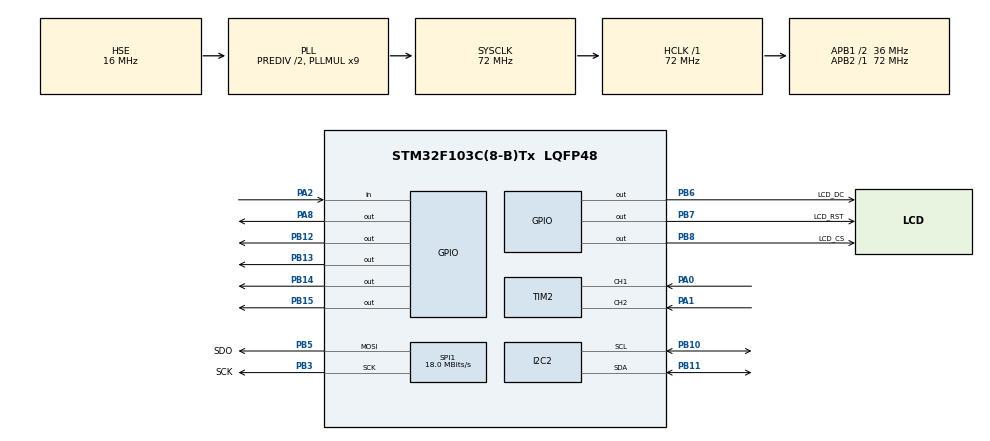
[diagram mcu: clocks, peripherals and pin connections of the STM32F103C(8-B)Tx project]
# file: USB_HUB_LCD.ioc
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Dma.Request0=SPI1_TX
Dma.SPI1_TX.0.Direction=DMA_MEMORY_TO_PERIPH
Dma.SPI1_TX.0.Instance=DMA1_Channel3
Dma.SPI1_TX.0.MemDataAlignment=DMA_MDATAALIGN_BYTE
Dma.SPI1_TX.0.MemInc=DMA_MINC_ENABLE
Dma.SPI1_TX.0.Mode=DMA_NORMAL
Dma.SPI1_TX.0.PeriphDataAlignment=DMA_PDATAALIGN_BYTE
Dma.SPI1_TX.0.PeriphInc=DMA_PINC_DISABLE
Dma.SPI1_TX.0.Priority=DMA_PRIORITY_LOW
Mcu.Family=STM32F1
Mcu.Name=STM32F103C(8-B)Tx
Mcu.Package=LQFP48
NVIC.DMA1_Channel3_IRQn=true\:0\:0\:false\:false\:true\:false\:true\:true
NVIC.I2C2_EV_IRQn=true\:0\:0\:false\:false\:true\:true\:true\:true
NVIC.PriorityGroup=NVIC_PRIORITYGROUP_4
NVIC.TIM2_IRQn=true\:0\:0\:false\:false\:true\:true\:true\:true
PA0-WKUP.GPIO_PuPd=GPIO_PULLDOWN
PA0-WKUP.Signal=S_TIM2_CH1_ETR
PA1.GPIO_PuPd=GPIO_PULLDOWN
PA1.Signal=S_TIM2_CH2
PA13.Mode=Serial_Wire
PA13.Signal=SYS_JTMS-SWDIO
PA14.Mode=Serial_Wire
PA14.Signal=SYS_JTCK-SWCLK
PA2.GPIO_PuPd=GPIO_PULLDOWN
PA2.Signal=GPIO_Input
PA8.Signal=GPIO_Output
PB10.Mode=I2C
PB10.Signal=I2C2_SCL
PB11.Mode=I2C
PB11.Signal=I2C2_SDA
PB12.GPIO_ModeDefaultOutputPP=GPIO_MODE_OUTPUT_OD
PB12.GPIO_PuPd=GPIO_NOPULL
PB12.PinState=GPIO_PIN_SET
PB12.Signal=GPIO_Output
PB13.GPIO_ModeDefaultOutputPP=GPIO_MODE_OUTPUT_OD
PB13.GPIO_PuPd=GPIO_NOPULL
PB13.PinState=GPIO_PIN_SET
PB13.Signal=GPIO_Output
PB14.GPIO_ModeDefaultOutputPP=GPIO_MODE_OUTPUT_OD
PB14.GPIO_PuPd=GPIO_NOPULL
PB14.PinState=GPIO_PIN_SET
PB14.Signal=GPIO_Output
PB15.GPIO_ModeDefaultOutputPP=GPIO_MODE_OUTPUT_OD
PB15.GPIO_PuPd=GPIO_NOPULL
PB15.PinState=GPIO_PIN_SET
PB15.Signal=GPIO_Output
PB3.GPIO_Label=SCK
PB3.Mode=TX_Only_Simplex_Unidirect_Master
PB3.Signal=SPI1_SCK
PB5.GPIO_Label=SDO
PB5.Mode=TX_Only_Simplex_Unidirect_Master
PB5.Signal=SPI1_MOSI
PB6.GPIO_Label=LCD_DC
PB6.GPIO_Speed=GPIO_SPEED_FREQ_HIGH
PB6.PinState=GPIO_PIN_SET
PB6.Signal=GPIO_Output
PB7.GPIO_Label=LCD_RST
PB7.GPIO_PuPd=GPIO_PULLUP
PB7.GPIO_Speed=GPIO_SPEED_FREQ_HIGH
PB7.PinState=GPIO_PIN_SET
PB7.Signal=GPIO_Output
PB8.GPIO_Label=LCD_CS
PB8.GPIO_PuPd=GPIO_PULLUP
PB8.GPIO_Speed=GPIO_SPEED_FREQ_HIGH
PB8.PinState=GPIO_PIN_SET
PB8.Signal=GPIO_Output
PD0-OSC_IN.Mode=HSE-External-Oscillator
PD0-OSC_IN.Signal=RCC_OSC_IN
PD1-OSC_OUT.Mode=HSE-External-Oscillator
PD1-OSC_OUT.Signal=RCC_OSC_OUT
ProjectManager.HeapSize=0x200
ProjectManager.StackSize=0x400
ProjectManager.TargetToolchain=STM32CubeIDE
RCC.AHBFreq_Value=72000000
RCC.APB1CLKDivider=RCC_HCLK_DIV2
RCC.APB1Freq_Value=36000000
RCC.APB1TimFreq_Value=72000000
RCC.APB2Freq_Value=72000000
RCC.APB2TimFreq_Value=72000000
RCC.HCLKFreq_Value=72000000
RCC.HSEDivPLL=RCC_HSE_PREDIV_DIV2
RCC.HSE_VALUE=16000000
RCC.PLLMUL=RCC_PLL_MUL9
RCC.PLLSourceVirtual=RCC_PLLSOURCE_HSE
RCC.SYSCLKFreq_VALUE=72000000
RCC.SYSCLKSource=RCC_SYSCLKSOURCE_PLLCLK
RCC.USBFreq_Value=72000000
SH.S_TIM2_CH1_ETR.0=TIM2_CH1,Encoder_Interface
SH.S_TIM2_CH2.0=TIM2_CH2,Encoder_Interface
SPI1.BaudRatePrescaler=SPI_BAUDRATEPRESCALER_4
SPI1.CalculateBaudRate=18.0 MBits/s
SPI1.Direction=SPI_DIRECTION_2LINES
SPI1.Mode=SPI_MODE_MASTER
SPI1.VirtualType=VM_MASTER
TIM2.EncoderMode=TIM_ENCODERMODE_TI1
TIM2.IC1Polarity=TIM_ICPOLARITY_FALLING
TIM2.IC2Polarity=TIM_ICPOLARITY_FALLING
board=custom

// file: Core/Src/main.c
/* USER CODE BEGIN Header */
/**
  ******************************************************************************
  * @file           : main.c
  * @brief          : Main program body
  ******************************************************************************
  * @attention
  *
  * Copyright (c) 2024 STMicroelectronics.
  * All rights reserved.
  *
  * This software is licensed under terms that can be found in the LICENSE file
  * in the root directory of this software component.
  * If no LICENSE file comes with this software, it is provided AS-IS.
  *
  ******************************************************************************
  */
/* USER CODE END Header */
#include "main.h"
#include "dma.h"
#include "i2c.h"
#include "spi.h"
#include "tim.h"
#include "gpio.h"

/* USER CODE BEGIN Includes */
#include "st7789.h"
#include "ina219.h"
#include "stm32f1xx_it.h"
#include <stdio.h>
#include <math.h>
/* USER CODE END Includes */

/* USER CODE BEGIN PV */

int16_t counter = 0;
uint16_t step = 0;
uint8_t selection_flag = 0;
uint8_t power_flag = 0;
uint8_t timer_flag = 0;

float bus_voltage;
float current;
float power;
char time[16];
char time_str[16];
char voltage_str[16];
char current_str[16];
char power_str[16];

/* USER CODE END PV */

void SystemClock_Config(void);

int main(void)
{

  /* MCU Configuration--------------------------------------------------------*/

  /* Reset of all peripherals, Initializes the Flash interface and the Systick. */
  HAL_Init();

  /* Configure the system clock */
  SystemClock_Config();

  /* Initialize all configured peripherals */
  MX_GPIO_Init();
  MX_DMA_Init();
  MX_SPI1_Init();
  MX_TIM2_Init();
  MX_I2C2_Init();
  /* USER CODE BEGIN 2 */
  ST7789_Init();    // Initialize the ST7789 display
  INA219_Init();    // Initialize the INA219 power sensor
  HAL_TIM_Encoder_Start_IT(&htim2, TIM_CHANNEL_ALL); // Start encoder with interrupt for TIM2
  ST7789_Starting_Screen(0, 40, GBLUE); // Display starting screen with coordinates (0, 40) and color GBLUE
  Main_Screen();    // Display the main screen
  HAL_Delay(100);   // Delay for 100 milliseconds to allow initialization to stabilize

  /* USER CODE END 2 */

  /* Infinite loop */
  while (1)
  {

  }
}

void SystemClock_Config(void)
{
  RCC_OscInitTypeDef RCC_OscInitStruct = {0};
  RCC_ClkInitTypeDef RCC_ClkInitStruct = {0};

  /** Initializes the RCC Oscillators according to the specified parameters
  * in the RCC_OscInitTypeDef structure.
  */
  RCC_OscInitStruct.OscillatorType = RCC_OSCILLATORTYPE_HSE;
  RCC_OscInitStruct.HSEState = RCC_HSE_ON;
  RCC_OscInitStruct.HSEPredivValue = RCC_HSE_PREDIV_DIV2;
  RCC_OscInitStruct.HSIState = RCC_HSI_ON;
  RCC_OscInitStruct.PLL.PLLState = RCC_PLL_ON;
  RCC_OscInitStruct.PLL.PLLSource = RCC_PLLSOURCE_HSE;
  RCC_OscInitStruct.PLL.PLLMUL = RCC_PLL_MUL9;
  if (HAL_RCC_OscConfig(&RCC_OscInitStruct) != HAL_OK)
  {
    Error_Handler();
  }

  /** Initializes the CPU, AHB and APB buses clocks
  */
  RCC_ClkInitStruct.ClockType = RCC_CLOCKTYPE_HCLK|RCC_CLOCKTYPE_SYSCLK
                              |RCC_CLOCKTYPE_PCLK1|RCC_CLOCKTYPE_PCLK2;
  RCC_ClkInitStruct.SYSCLKSource = RCC_SYSCLKSOURCE_PLLCLK;
  RCC_ClkInitStruct.AHBCLKDivider = RCC_SYSCLK_DIV1;
  RCC_ClkInitStruct.APB1CLKDivider = RCC_HCLK_DIV2;
  RCC_ClkInitStruct.APB2CLKDivider = RCC_HCLK_DIV1;

  if (HAL_RCC_ClockConfig(&RCC_ClkInitStruct, FLASH_LATENCY_2) != HAL_OK)
  {
    Error_Handler();
  }
}

/* USER CODE BEGIN 4 */

/**
 * @brief  Starts a countdown timer and updates the display with the remaining time.
 *         The countdown continues until it reaches zero or the user presses the button.
 * @param  minute: The number of minutes to count down from.
 * @retval None
 */
void Countdown(uint8_t minute)
{
    uint16_t seconds = minute * 60; // Convert minutes to seconds

    int16_t centerX = 120; // X coordinate of the circle's center
    int16_t centerY = 120; // Y coordinate of the circle's center
    int16_t radius = 100;  // Radius of the circle along which the point will move

    // Draw static elements (optional)
    ST7789_DrawLine(10, 140, 30, 130, RED);  // Example static line
    ST7789_DrawLine(230, 140, 210, 130, RED); // Example static line

    while (seconds > 0)
    {
        // Format time into minutes and seconds
        uint8_t display_minutes = seconds / 60;
        uint8_t display_seconds = seconds % 60;

        // Display the formatted time on the screen
        sprintf(time, "%02d:%02d", display_minutes, display_seconds);
        ST7789_WriteString(80, 100, time, Font_16x26, GBLUE, BLACK);

        // Calculate the angle in radians (from 182° to 362°)
        float angle = M_PI * (182.0 + 180.0 * (float)(minute * 60 - seconds) / (minute * 60)) / 180.0;

        // Calculate the coordinates of the point on the circle
        int16_t x = centerX + (int16_t)(radius * cos(angle));
        int16_t y = centerY + (int16_t)(radius * sin(angle));

        // Draw the point at the new coordinates
        ST7789_DrawFilledCircle(x, y, 5, RED);

        // If there are less than 11 seconds remaining, toggle the LED
        if (seconds < 11)
        {
            HAL_GPIO_TogglePin(GPIOB, GPIO_PIN_12 | GPIO_PIN_13 | GPIO_PIN_14 | GPIO_PIN_15);
        }

        // Pause for one second
        HAL_Delay(980);

        // Erase the previous point (optional: draw a black point over it before drawing the new one)
        ST7789_DrawFilledCircle(x, y, 5, BLACK);

        // Decrease the number of seconds
        seconds--;

        // Check if the button is pressed to abort the countdown
        if (HAL_GPIO_ReadPin(GPIOA, GPIO_PIN_2) == GPIO_PIN_SET)
        {
            HAL_Delay(100); // Debounce delay
            Main_Screen();  // Return to the main screen
            return;         // Exit the function
        }
    }

    // Return to the main screen when the countdown finishes
    Main_Screen();
}

/**
 * @brief  Displays the timer screen allowing the user to set a countdown time.
 *         Updates the display with the current time and starts a countdown upon button press.
 * @retval None
 */
void Timer_Screen(void)
{
    timer_flag = 1;    // Set the flag for Timer Screen
    counter = 1;       // Initialize to 1 minute

    ST7789_Fill_Color(BLACK); // Clear the screen

    while (1)
    {
        // Display the current time set
    	ST7789_WriteString(50, 75, "Time:", Font_11x18, GBLUE, BLACK);
        sprintf(time_str,"%d min ", counter);
        ST7789_WriteString(80, 100, time_str, Font_16x26, GBLUE, BLACK);

        HAL_Delay(200); // Short delay for display stability

        // Check if the start button is pressed
        if (HAL_GPIO_ReadPin(GPIOA, GPIO_PIN_2) == GPIO_PIN_SET)
        {
            HAL_Delay(200); // Debounce delay
            ST7789_Fill_Color(BLACK); // Clear the screen
            sprintf(time_str,"Time: %d min ", counter);
			ST7789_WriteString(50, 170, time_str, Font_11x18, GBLUE, BLACK);// Display the choosen time
            ST7789_DrawRectangle(45,190,195,165,0xce79);
            Countdown(counter); // Start countdown with the current time
            break; // Exit loop after starting countdown
        }
    }

    timer_flag = 0; // Reset the flag after exiting Timer Screen
    Main_Screen();  // Return to the main screen
}

/**
 * @brief  Displays the power screen showing information for USB ports.
 *         Updates the display with voltage, current, and power for the selected USB port.
 * @retval None
 */
void Power_Screen(void)
{
    power_flag = 1;    // Set the flag for Power Screen
    counter = 0;       // Initialize to USB1

    ST7789_Fill_Color(BLACK); // Clear the screen

    while (1)
    {
        char port_name[10];
        uint8_t current_port = counter + 1; // USB ports from 1 to 4

        // Read values from the selected USB port
        switch (counter)
        {
            case 0:
                HAL_GPIO_WritePin(GPIOB, GPIO_PIN_15, GPIO_PIN_SET);
                HAL_GPIO_WritePin(GPIOB, GPIO_PIN_12|GPIO_PIN_13|GPIO_PIN_14, GPIO_PIN_RESET);
                bus_voltage = INA219_ReadBusVoltage(USB1);
                current = INA219_ReadCurrent(USB1);
                power = INA219_ReadPower(USB1);
                break;
            case 1:
                HAL_GPIO_WritePin(GPIOB, GPIO_PIN_14, GPIO_PIN_SET);
                HAL_GPIO_WritePin(GPIOB, GPIO_PIN_12|GPIO_PIN_13|GPIO_PIN_15, GPIO_PIN_RESET);
                bus_voltage = INA219_ReadBusVoltage(USB2);
                current = INA219_ReadCurrent(USB2);
                power = INA219_ReadPower(USB2);
                break;
            case 2:
                HAL_GPIO_WritePin(GPIOB, GPIO_PIN_13, GPIO_PIN_SET);
                HAL_GPIO_WritePin(GPIOB, GPIO_PIN_12|GPIO_PIN_15|GPIO_PIN_14, GPIO_PIN_RESET);
                bus_voltage = INA219_ReadBusVoltage(USB3);
                current = INA219_ReadCurrent(USB3);
                power = INA219_ReadPower(USB3);
                break;
            case 3:
                HAL_GPIO_WritePin(GPIOB, GPIO_PIN_12, GPIO_PIN_SET);
                HAL_GPIO_WritePin(GPIOB, GPIO_PIN_15|GPIO_PIN_13|GPIO_PIN_14, GPIO_PIN_RESET);
                bus_voltage = INA219_ReadBusVoltage(USB4);
                current = INA219_ReadCurrent(USB4);
                power = INA219_ReadPower(USB4);
                break;
            default:
                break;
        }

        // Display information on the screen
        sprintf(port_name, "USB %d", current_port);
        ST7789_WriteString(70, 20, port_name, Font_16x26, GBLUE, BLACK);

        sprintf(voltage_str, "Voltage: %.2f V ", bus_voltage);
        ST7789_WriteString(20, 60, voltage_str, Font_11x18, WHITE, BLACK);
        ST7789_DrawLine(20,85,bus_voltage*36,85,RED);
        ST7789_DrawLine(20+bus_voltage*36,85,200,85,BLACK);

        sprintf(current_str, "Current: %.2f A ", fabs(current));
        ST7789_WriteString(20, 105, current_str, Font_11x18, WHITE, BLACK);
        ST7789_DrawLine(20,130,22+current*200,130,RED);
	    ST7789_DrawLine(22+current*200,130,200,130,BLACK);

        sprintf(power_str, "Power:   %.2f W ", fabs(power));
        ST7789_WriteString(20, 150, power_str, Font_11x18, WHITE, BLACK);
        ST7789_DrawLine(20,175,22+fabs(power)*57,175,RED);
	    ST7789_DrawLine(22+power*57,175,200,175,BLACK);

        // Check if the return button is pressed
        if (HAL_GPIO_ReadPin(GPIOA, GPIO_PIN_2) == GPIO_PIN_SET)
        {
            HAL_Delay(200); // Debounce delay
            power_flag = 0;
            HAL_GPIO_WritePin(GPIOB, GPIO_PIN_12|GPIO_PIN_13|GPIO_PIN_14|GPIO_PIN_15, GPIO_PIN_SET);
            Main_Screen();
            break; // Exit loop after returning
        }
    }
}

/**
 * @brief  Handles the selection screen interface.
 *         Displays options and processes user input to navigate to the selected screen.
 * @retval None
 */
void Selection_Screen(void)
{
    selection_flag = 1;  // Set the flag for Selection Screen
    counter = 0;         // Initialize counter to 0

    while (1)
    {
        // Clear previous text and drawings

        // Display options based on 'counter' value
        if (counter == 0)
        {
            ST7789_WriteString(95, 30, "Power", Font_11x18, GBLUE, BLACK);
            ST7789_DrawCircle(64, 129, 48, GBLUE);
            ST7789_DrawCircle(174, 129, 48, BLACK);
        }
        else if (counter == 1)
        {
            ST7789_WriteString(95, 30, "Timer", Font_11x18, GBLUE, BLACK);
            ST7789_DrawCircle(64, 129, 48, BLACK);
            ST7789_DrawCircle(174, 129, 48, GBLUE);
        }

        // Check if the selection button is pressed
        if (HAL_GPIO_ReadPin(GPIOA, GPIO_PIN_2) == GPIO_PIN_SET)
        {
            HAL_Delay(200); // Debounce delay

            ST7789_Fill_Color(BLACK); // Clear the screen

            // Navigate to the selected screen
            if (counter == 0)
            {
                selection_flag = 0;
                Power_Screen();
            }
            else if (counter == 1)
            {
                selection_flag = 0;
                Timer_Screen();
            }
            break; // Exit loop after selection
        }
    }
}

/**
 * @brief  Initializes and displays the main screen and selection screen.
 * @retval None
 */
void Main_Screen(void)
{
  // Reset counter to 0
  counter = 0;

  // Display the main screen
  ST7789_Main_Screen();

  // Show the selection screen
  Selection_Screen();
}

/**
 * @brief  Handles the input capture callback for the timer.
 *         Updates the 'counter' variable based on the current timer value.
 * @param  htim: Timer handle used for input capture.
 * @retval None
 */

void HAL_TIM_IC_CaptureCallback(TIM_HandleTypeDef *htim)
{
    // Get the current value from the timer
    step = __HAL_TIM_GET_COUNTER(htim);

    // If in Power_Screen mode
    if (power_flag == 1)
    {
        // Update 'counter' within the range 0-3
        counter = step / 4 % 4;
        // Ensure 'counter' stays within valid range
        if (counter < 0) counter = 3;
        else if (counter > 3) counter = 0;
    }
    // If in Timer_Screen mode
    else if (timer_flag == 1)
    {
        // Update 'counter' within the range 1-60
    	counter = step / 4 % 60;
        // Ensure 'counter' stays within valid range
        if (counter < 1) counter = 60;
        else if (counter > 60) counter = 1;
    }
    // If in Selection_Screen mode
    else
    {
        // Toggle between two states: 0 and 1
        counter = step / 4;
        if (counter > 0)
        {
        	counter = (counter + 1) % 2;
        }
        else
        {
            counter = (counter - 1 + 2) % 2;  // +2 to keep result positive
        }
        // Ensure 'counter' stays within valid range
        if (counter < 0) counter = 1;
        else if (counter > 1) counter = 0;
    }

}

/* USER CODE END 4 */

void Error_Handler(void)
{
  __disable_irq();
  while (1)
  {
  }
}
